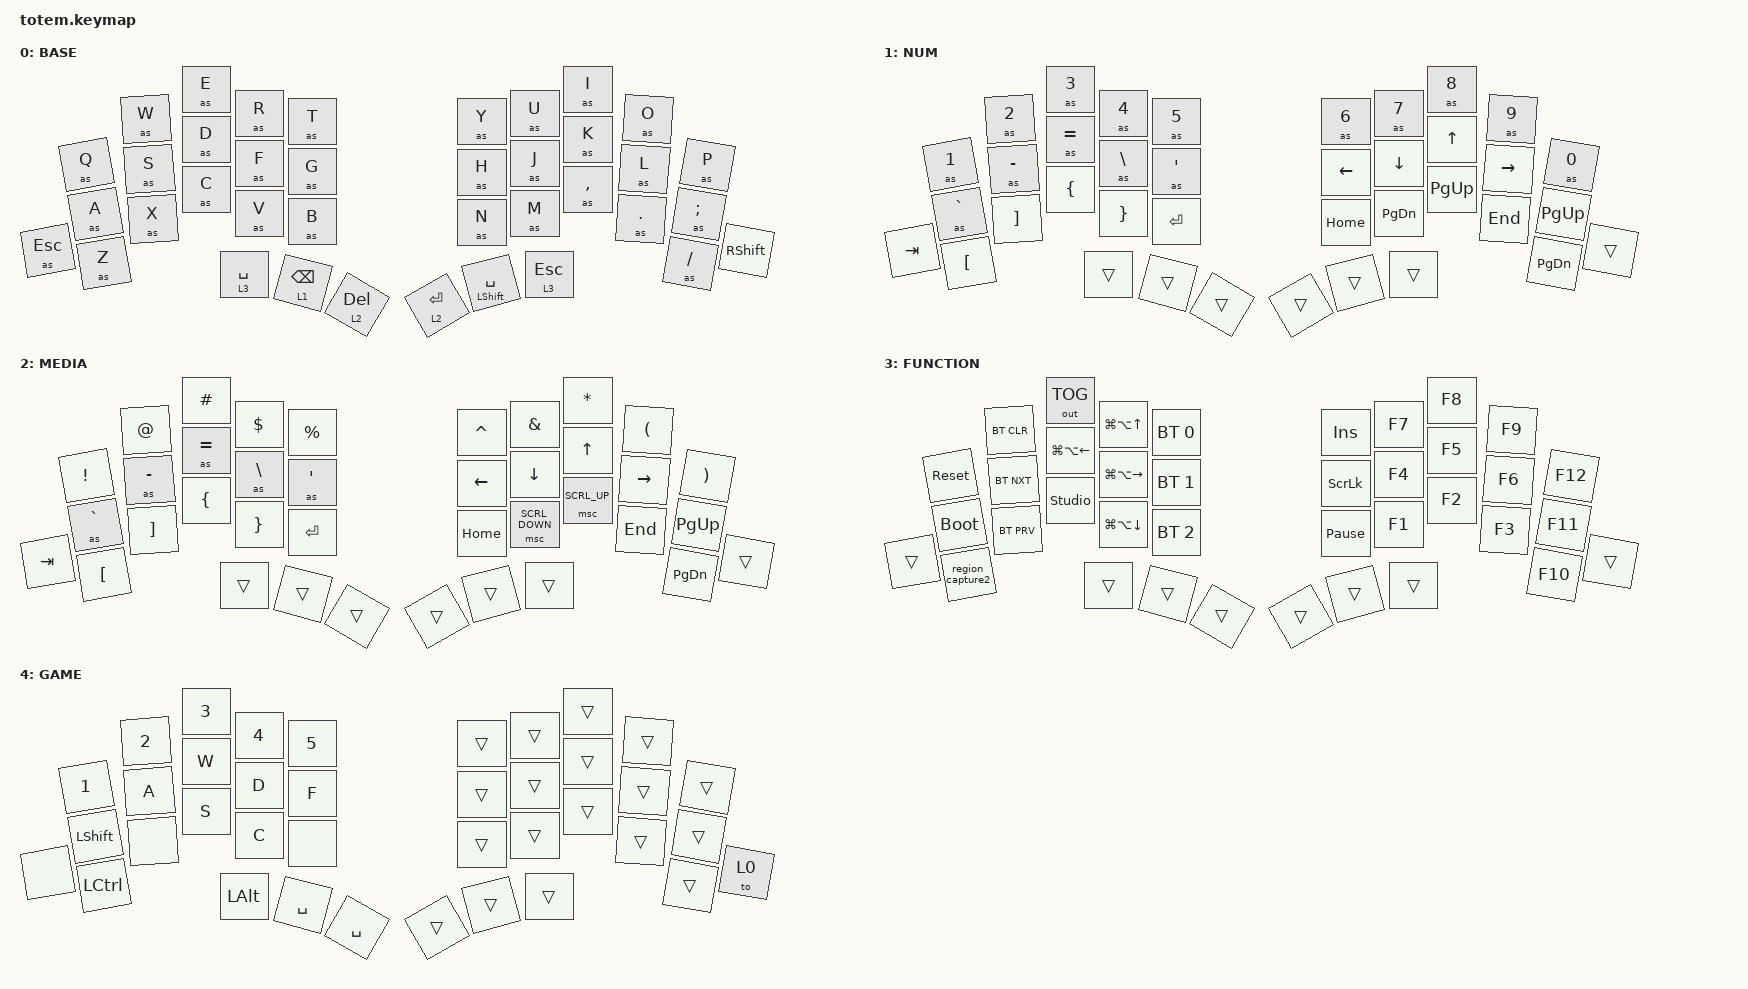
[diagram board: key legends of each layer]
//
//                                                        ▀▀▀▀▀     ▀▀▀▀▀          ▀▀█▀▀
//                                                        ▄▀▀▀▄  ▄  ▄▀▀▀▄  ▄  ▄▀▀▀▄  █  ▄▀▀▀▄
//                                                        █   █  █  █   █  █  █   █  █  █   █
//                                                         ▀▀▀   █   ▀▀▀   █   ▀▀▀   ▀   ▀▀▀
//                                                               █      ▄▄▄█▄▄▄    █   █  
//                                                               ▀      █  █  █     █▄█
//                                                             ▀▀▀▀▀    █  █  █      ▀
//                                                                      ▀  ▀  ▀
//
// ▄▄▄▄▄▄▄▄▄▄▄▄▄▄▄▄▄▄▄▄▄▄▄▄▄▄▄▄▄▄▄▄▄▄▄▄▄▄▄▄▄▄▄▄▄▄▄▄▄▄▄▄▄▄▄▄▄▄▄▄▄▄▄▄▄▄▄▄▄▄▄▄▄▄▄▄▄▄▄▄▄▄▄▄▄▄▄▄▄▄▄▄▄▄▄▄▄▄▄▄▄▄▄▄▄▄▄▄▄▄▄▄▄▄▄▄▄▄▄▄▄▄▄▄▄▄▄▄▄▄▄▄▄▄▄▄▄▄▄▄▄▄▄▄▄▄▄▄▄

#include <behaviors.dtsi>
#include <dt-bindings/zmk/keys.h>
#include <dt-bindings/zmk/bt.h>
#include <dt-bindings/zmk/outputs.h>
#include <dt-bindings/zmk/ext_power.h>

#define ZMK_POINTING_DEFAULT_MOVE_VAL 1500  // default: 600
#define ZMK_POINTING_DEFAULT_SCRL_VAL 20    // default: 10

#include <dt-bindings/zmk/pointing.h>

#define BASE      0
#define NUM       1
#define MEDIA     2
#define FUNCTION  3
#define GAME      4

&mt {
    quick-tap-ms = <100>;
    global-quick-tap;
    flavor = "tap-preferred";
    tapping-term-ms = <170>;
};

/ {
    behaviors {
        
        
        hm: homerow_mods {
            compatible = "zmk,behavior-hold-tap";
            label = "HOMEROW_MODS";
            #binding-cells = <2>;
            tapping-term-ms = <200>;			// <---[[produces tap if held longer than tapping-term-ms]]
            quick_tap_ms = <0>;
            flavor = "tap-preferred";
            bindings = <&kp>, <&kp>;
        };

        lc: layer_change {
            compatible = "zmk,behavior-hold-tap";
            #binding-cells = <2>;
            flavor = "hold-preferred";
            tapping-term-ms = <200>;
            quick-tap-ms = <200>;
            require-prior-idle-ms = <125>;
            bindings = <&to>, <&kp>;
        };

        sc: sticky_layer_change {
            compatible = "zmk,behavior-hold-tap";
            #binding-cells = <2>;
            flavor = "hold-preferred";
            tapping-term-ms = <200>;
            quick-tap-ms = <200>;
            require-prior-idle-ms = <125>;
            bindings = <&sl>, <&kp>;
        };

        dl: dualayer_change {
            compatible = "zmk,behavior-hold-tap";
            #binding-cells = <2>;
            flavor = "hold-preferred";
            tapping-term-ms = <200>;
            quick-tap-ms = <200>;
            require-prior-idle-ms = <125>;
            bindings = <&to>, <&sl>;
        };

        ts: temp_sticky {
            compatible = "zmk,behavior-hold-tap";
            #binding-cells = <2>;
            flavor = "hold-preferred";
            tapping-term-ms = <200>;
            quick-tap-ms = <200>;
            require-prior-idle-ms = <125>;
            bindings = <&mo>, <&to>;
        };
    };

    combos {
        compatible = "zmk,combos";

        combo_esc {
            timeout-ms = <50>;
            key-positions = <0 1>;
            layers = <0 1 2 3>;
            bindings = <&kp ESC>;
        };

        combo_tab {
            timeout-ms = <50>;
            key-positions = <0 1 33 36>;
            layers = <0 1 2 3>;
            bindings = <&kp TAB>;
        };
        combo_lock {
            timeout-ms = <50>;
            key-positions = <20 31>;
            layers = <0 1 2 3>;
            bindings = <&kp CAPSLOCK>;
        };
        combo_caps_word {
            timeout-ms = <50>;
            key-positions = <26 27>;
            layers = <0 1 2 3>;
            bindings = <&caps_word>;
        };
        combo_undo {
            timeout-ms = <50>;
            key-positions = <34 35>;
            layers = <0 1 2 3>;
            bindings = <&kp LC(Z)>;
        };

        /*combo_shift1 {
            timeout-ms = <50>;
            key-positions = <12 13>;
            layers = <0>;
            bindings = <&kp LSHFT>;
        };

        combo_shift2 {
            timeout-ms = <50>;
            key-positions = <16 17>;
            layers = <0>;
            bindings = <&kp RSHFT>;
        };*/

        combo_ctrl1 {
            timeout-ms = <50>;
            key-positions = <11 12>;
            layers = <0>;
            bindings = <&kp LCTRL>;
        };

        combo_ctrl2 {
            timeout-ms = <50>;
            key-positions = <18 17>;
            layers = <0>;
            bindings = <&kp RCTRL>;
        };

        combo_alt1 {
            timeout-ms = <50>;
            key-positions = <11 10>;
            layers = <0>;
            bindings = <&kp LALT>;
        };

        combo_alt2 {
            timeout-ms = <50>;
            key-positions = <18 19>;
            layers = <0>;
            bindings = <&kp RALT>;
        };

        combo_super1 {
            timeout-ms = <50>;
            key-positions = <13 12>;
            layers = <0 2 3 1>;
            bindings = <&kp LGUI>;
        };
        combo_super2 {
            timeout-ms = <50>;
            key-positions = <16 17>;
            layers = <0 2 3 1>;
            bindings = <&kp LGUI>;
        };
        /*combo_backspace1 {
            key-positions = <5 6>;
            timeout-ms = <50>;
            layers = <0 1 2 3>;
            bindings = <&kp BACKSPACE>;
        };*/

        to_game_layer {
            bindings = <&to 4>;
            key-positions = <4 5>;
            layers = <0 1 2 3>;
            timeout-ms = <50>;
        };

        region_screen {
            bindings = <&capture_region>;
            key-positions = <5 6>;
            layers = <0 1 2 3>;
            timeout-ms = <50>;
        };

        combo_backspace2 {
            bindings = <&kp BACKSPACE>;
            key-positions = <3 4>;
            timeout-ms = <50>;
            layers = <0 1 2 3>;
        };

        combo_del1 {
            bindings = <&kp DEL>;
            key-positions = <24 25>;
            timeout-ms = <50>;
            layers = <0 1 2 3>;
        };

        combo_del2 {
            bindings = <&kp DEL>;
            key-positions = <26 27>;
            timeout-ms = <50>;
            layers = <0 1 2 3>;
        };

        combo_copy {
                timeout-ms = <50>;
                key-positions = <22 23>;
                bindings = <&kp LG(C)>;
            };
		combo_cut {
                timeout-ms = <50>;
                key-positions = <21 22>;
                bindings = <&kp LG(X)>;
            };
        combo_paste {
                timeout-ms = <50>;
                key-positions = <23 24>;
                bindings = <&kp LG(V)>;
            }; 
    };

    macros {
		  shifted: macro_shifted_kp {
		    #binding-cells = <1>;
		    label = "MACRO_SHIFTED_KP";
		    compatible = "zmk,behavior-macro-one-param";
		    bindings =
		      <&macro_press &kp LSHFT>,
		      <&macro_param_1to1 &macro_tap &kp MACRO_PLACEHOLDER>,
		      <&macro_release &kp LSHFT>;
		  };
  		
		as_ht: autoshift_hold_tap {
		    compatible = "zmk,behavior-hold-tap";
		    label = "AUTOSHIFT_HOLD_TAP";
		    #binding-cells = <2>;
		    tapping-term-ms = <175>;
		    flavor = "tap-preferred";
		    bindings = <&shifted>, <&kp>;
  		};
        as: autoshift {
            compatible = "zmk,behavior-macro-one-param";
            #binding-cells = <1>;
            label = "AUTOSHIFT_KP";
            bindings =
                <&macro_press>,
                <&macro_param_1to1>,
                <&macro_param_1to2>,
                <&as_ht MACRO_PLACEHOLDER MACRO_PLACEHOLDER>,
                <&macro_pause_for_release>,
                <&macro_release>,
                <&macro_param_1to1>,
                <&macro_param_1to2>,
                <&as_ht MACRO_PLACEHOLDER MACRO_PLACEHOLDER>;
        };
        capture_region: capture_region {
            compatible = "zmk,behavior-macro";
            #binding-cells = <0>;
            bindings = <
                &macro_press   &kp LGUI &kp LSHFT  // Press and hold Command (LGUI) and Shift (LSHFT)
                &macro_tap     &kp N5              // Tap the '5' key
                &macro_release &kp LGUI &kp LSHFT  // Release Command and Shift
            >;
            wait-ms = <10>;
            tap-ms = <10>;
//Windows
/*                <&macro_press>,
                <&kp LCTRL>,
                <&macro_tap>,
                <&kp PRINTSCREEN>,
                <&macro_release>,
                <&kp LCTRL>;*/

            label = "CAPTURE_REGION";
        };

        region_capture2: region_capture2 {
            compatible = "zmk,behavior-macro";
            #binding-cells = <0>;
            bindings =
                <&macro_press>,
                <&kp RCTRL>,
                <&macro_tap>,
                <&kp K_APP>,
                <&macro_release>,
                <&kp RCTRL>;

            label = "REGION_CAPTURE2";
        };
    };

    keymap {
        compatible = "zmk,keymap";

        // ▄▄▄▄▄▄▄▄▄▄▄▄▄▄▄▄▄▄▄▄▄▄▄▄▄▄▄▄▄▄▄▄▄▄▄▄▄▄▄▄▄▄▄▄▄▄▄▄▄▄▄▄▄▄▄▄▄▄▄▄▄▄▄▄▄▄▄▄▄▄▄▄▄▄▄▄▄▄▄▄▄▄▄▄▄▄▄▄▄▄▄▄▄▄▄▄▄▄▄▄▄▄▄▄▄▄▄▄▄▄▄▄▄▄▄▄▄▄▄▄▄▄▄▄▄▄▄▄▄▄▄▄▄▄▄▄▄▄▄▄▄▄▄▄▄▄▄▄▄

        base_layer {
            // ┏━━━━━━━━━━━━━━━━━━━━━━━━━━━━━━━━━━━━━━━┓

            label = "BASE";

            // ┗━━━━━━━━━━━━━━━━━━━━━━━━━━━━━━━━━━━━━━━┛

            //             ┌─────────┬─────────┬─────────┬─────────┬─────────┐                     ┌─────────┬─────────┬─────────┬─────────┬─────────┐
            //             │    0    │    1    │    2    │    3    │    4    │                     │    5    │    6    │    7    │    8    │    9    │   
            //             ├─────────┼─────────┼─────────┼─────────┼─────────┤                     ├─────────┼─────────┼─────────┼─────────┼─────────┤
            //             │   10    │   11    │   12    │   13    │   14    │                     │   15    │   16    │   17    │   18    │   19    │
            //   ┌─────────┼─────────┼─────────┼─────────┼─────────┼─────────┤                     ├─────────┼─────────┼─────────┼─────────┼─────────┼─────────┐
            //   │    20   │   21    │   22    │   23    │   24    │   25    │                     │   26    │   27    │   28    │   29    │   30    │   31    │
            //   └─────────┴─────────┴─────────┴─────────┼─────────┼─────────┼──────────┬┬─────────┼─────────┼─────────┼─────────┴─────────┴─────────┴─────────┘
            //                                           │   32    │  33     │  34      ││  35     │  36     │  DITTO  │  
            //                                           └─────────┴─────────┴──────────┘└─────────┴─────────┴─────────┘


            //             ┌─────────┬─────────┬─────────┬─────────┬─────────┐                     ┌─────────┬─────────┬─────────┬─────────┬─────────┐
            //             │    Q    │    W    │    E    │    R    │    T    │                     │    Y    │    U    │    I    │    O    │    P    │   
            //             ├─────────┼─────────┼─────────┼─────────┼─────────┤                     ├─────────┼─────────┼─────────┼─────────┼─────────┤
            //             │    A    │    S    │    D    │    F    │    G    │                     │    H    │    J    │    K    │    L    │    ;    │
            //   ┌─────────┼─────────┼─────────┼─────────┼─────────┼─────────┤                     ├─────────┼─────────┼─────────┼─────────┼─────────┼─────────┐
            //   │ ESC/LT 3│    Z    │    X    │    C    │    V    │    B    │                     │    N    │    M    │    ,    │    .    │    /    │  SHIFT  │
            //   └─────────┴─────────┴─────────┴─────────┼─────────┼─────────┼──────────┬┬─────────┼─────────┼─────────┼─────────┴─────────┴─────────┴─────────┘
            //                                           │SPC/LT 1 │BSPC/LT 1│ DEL/LT 2 ││  RT/LT 2│SPC/SHFT │ESC/LT 3 │  
            //                                           └─────────┴─────────┴──────────┘└─────────┴─────────┴─────────┘

/*            bindings = <
           &kp Q  &kp W  &kp F      &kp P        &kp B          &kp J      &kp L      &kp U          &kp Y    &kp SEMI
           &kp A  &kp R  &kp S      &kp T        &kp G          &kp M      &kp N      &kp E          &kp I    &kp O
&lt 3 TAB  &kp Z  &kp X  &kp C      &kp D        &kp V          &kp K      &kp H      &kp COMMA      &kp DOT  &kp FSLH  &lc 2 SQT
                         &kp LC(C)  &lt 2 LC(V)  &lt 1 SPACE    &lt 1 RET  &lt 2 BSPC &kp LC(GRAVE)
            >;*/
			bindings = <
              	&as Q   &as W   &as E	&as R 	&as T                &as Y  	&as U	&as I        &as O 	&as P
              	&as A 	&as S 	&as D  	&as F	&as G                &as H      &as J  	&as K 	     &as L  	&as SEMICOLON
&as ESC	&as Z   &as X	&as C   &as V   &as B                &as N      &as M   &as COMMA    &as DOT    &as SLASH     &kp RSHFT
                        &lt 3 SPACE &lt 1 BSPC 	&lt 2 DEL            &lt 2 RET  &mt LSHFT SPACE     &lt 3 ESC
            >; 
        };

        // ▄▄▄▄▄▄▄▄▄▄▄▄▄▄▄▄▄▄▄▄▄▄▄▄▄▄▄▄▄▄▄▄▄▄▄▄▄▄▄▄▄▄▄▄▄▄▄▄▄▄▄▄▄▄▄▄▄▄▄▄▄▄▄▄▄▄▄▄▄▄▄▄▄▄▄▄▄▄▄▄▄▄▄▄▄▄▄▄▄▄▄▄▄▄▄▄▄▄▄▄▄▄▄▄▄▄▄▄▄▄▄▄▄▄▄▄▄▄▄▄▄▄▄▄▄▄▄▄▄▄▄▄▄▄▄▄▄▄▄▄▄▄▄▄▄▄▄▄▄

        num_layer {
            // ┏━━━━━━━━━━━━━━━━━━━━━━━━━━━━━━━━━━━━━━━┓

            label = "NUM";

            // ┗━━━━━━━━━━━━━━━━━━━━━━━━━━━━━━━━━━━━━━━┛
            //             ┌─────────┬─────────┬─────────┬─────────┬─────────┐                     ┌─────────┬─────────┬─────────┬─────────┬─────────┐
            //             │    1    │    2    │    3    │    4    │    5    │                     │    6    │    7    │    8    │    9    │    0    │
            //             ├─────────┼─────────┼─────────┼─────────┼─────────┤                     ├─────────┼─────────┼─────────┼─────────┼─────────┤
            //             │    ~    │    -    │    =    │    \    │    '    │                     │    <-   │    ↓    │    ↑    │    ->   │   PG_UP │
            //   ┌─────────┼─────────┼─────────┼─────────┼─────────┼─────────┤                     ├─────────┼─────────┼─────────┼─────────┼─────────┼─────────┐
            //   │    TAB  │    [    │    ]    │    {    │    }    │ ------- │                     │ HOME    │  PG_DN  │  PG_UP  │  END    │   PG_DN │   SHIFT │
            //   └─────────┴─────────┴─────────┴─────────┼─────────┼─────────┼──────────┬┬─────────┼─────────┼─────────┼─────────┴─────────┴─────────┴─────────┘
            //                                           │    0    │  ENTER  │  SPACE   ││  SPACE  │  ENTER  │    0    │ 
            //                                           └─────────┴─────────┴──────────┘└─────────┴─────────┴─────────┘

            bindings = <
            &as N1    &as N2     &as N3     &as N4      &as N5                  &as N6      &as N7      &as N8      &as N9      &as N0
            &as GRAVE &as MINUS  &as EQUAL  &as BSLH    &as SQT                 &kp LEFT    &kp DOWN    &kp UP      &kp RIGHT   &kp PG_UP  
&kp TAB     &kp LBKT  &kp RBKT   &kp LBRC   &kp RBRC    &kp RET                 &kp HOME    &kp PG_DN   &kp PG_UP   &kp END     &kp PG_DN    &trans
                                    &trans  &trans      &trans                  &trans      &trans      &trans
            >;
        };

        // ▄▄▄▄▄▄▄▄▄▄▄▄▄▄▄▄▄▄▄▄▄▄▄▄▄▄▄▄▄▄▄▄▄▄▄▄▄▄▄▄▄▄▄▄▄▄▄▄▄▄▄▄▄▄▄▄▄▄▄▄▄▄▄▄▄▄▄▄▄▄▄▄▄▄▄▄▄▄▄▄▄▄▄▄▄▄▄▄▄▄▄▄▄▄▄▄▄▄▄▄▄▄▄▄▄▄▄▄▄▄▄▄▄▄▄▄▄▄▄▄▄▄▄▄▄▄▄▄▄▄▄▄▄▄▄▄▄▄▄▄▄▄▄▄▄▄▄▄▄

        media_layer {
            // ┏━━━━━━━━━━━━━━━━━━━━━━━━━━━━━━━━━━━━━━━┓

            label = "MEDIA";

            // ┗━━━━━━━━━━━━━━━━━━━━━━━━━━━━━━━━━━━━━━━┛
            //             ┌─────────┬─────────┬─────────┬─────────┬─────────┐                    ┌─────────┬─────────┬─────────┬─────────┬─────────┐
            //             │    !    │    @    │    #    │    $    │    %    │                    │    ^    │    &    │    *    │    -    │    +    │   
            //             ├─────────┼─────────┼─────────┼─────────┼─────────┤                    ├─────────┼─────────┼─────────┼─────────┼─────────┤
            //             │    ~    │    -    │    =    │    \    │    '    │                    │    <-   │    ↓    │    ↑    │    ->   │   PG_UP │
            //   ┌─────────┼─────────┼─────────┼─────────┼─────────┼─────────┤                    ├─────────┼─────────┼─────────┼─────────┼─────────┼─────────┐
            //   │    TAB  │    [    │    ]    │    {    │    }    │ ------- │                    │ HOME    │  PG_DN  │  PG_UP  │  END    │   PG_DN │   SHIFT │
            //   └─────────┴─────────┴─────────┴─────────┼─────────┼─────────┼─────────┬┬─────────┼─────────┼─────────┼─────────┴─────────┴─────────┴─────────┘
            //                                           │   ALT   │  CTRL   │  SHIFT  ││         │         │         │  
            //                                           └─────────┴─────────┴─────────┘└─────────┴─────────┴─────────┘

            bindings = <
            &kp EXCL    &kp AT     &kp HASH  &kp DLLR   &kp PRCNT           &kp CARET   &kp AMPS    &kp ASTRK   &kp LPAR   &kp RPAR
            &as GRAVE   &as MINUS  &as EQUAL &as BSLH   &as SQT             &kp LEFT    &kp DOWN    &kp UP      &kp RIGHT   &kp PG_UP   
&kp TAB     &kp LBKT    &kp RBKT   &kp LBRC  &kp RBRC   &kp RET             &kp HOME    &msc SCRL_DOWN   &msc SCRL_UP   &kp END     &kp PG_DN   &trans
//&kp PRINTSCREEN  &kp LBKT  &kp GRAVE  &kp DOWN  &kp UNDER  &kp RBKT             &kp HOME    &kp PG_DN  &kp PG_UP  &kp END  &kp PG_DN    &trans
                                    &trans  &trans     &trans                   &trans  &trans     &trans                
//                                      &kp LALT  &kp LCTRL  &kp LSHFT            &trans     &trans        &trans
            >;
        };

        // ▄▄▄▄▄▄▄▄▄▄▄▄▄▄▄▄▄▄▄▄▄▄▄▄▄▄▄▄▄▄▄▄▄▄▄▄▄▄▄▄▄▄▄▄▄▄▄▄▄▄▄▄▄▄▄▄▄▄▄▄▄▄▄▄▄▄▄▄▄▄▄▄▄▄▄▄▄▄▄▄▄▄▄▄▄▄▄▄▄▄▄▄▄▄▄▄▄▄▄▄▄▄▄▄▄▄▄▄▄▄▄▄▄▄▄▄▄▄▄▄▄▄▄▄▄▄▄▄▄▄▄▄▄▄▄▄▄▄▄▄▄▄▄▄▄▄▄▄▄

        function_layer {
            // ┏━━━━━━━━━━━━━━━━━━━━━━━━━━━━━━━━━━━━━━━┓

            label = "FUNCTION";

            // ┗━━━━━━━━━━━━━━━━━━━━━━━━━━━━━━━━━━━━━━━┛
            //             ┌─────────┬─────────┬─────────┬─────────┬─────────┐                     ┌─────────┬─────────┬─────────┬─────────┬─────────┐
            //             │  RESET  │  BT CLR │ OUT TOG │  WIN ^  │ BTSEL 0 │                     │   INS   │    F7   │    F8   │    F9   │   F12   │
            //             ├─────────┼─────────┼─────────┼─────────┼─────────┤                     ├─────────┼─────────┼─────────┼─────────┼─────────┤
            //             │  BOOTLD │ BT NEXT │  WIN <  │  WIN >  │ BTSEL 1 │                     │  SLCK   │    F4   │    F5   │    F6   │   F11   │
            //   ┌─────────┼─────────┼─────────┼─────────┼─────────┼─────────┤                     ├─────────┼─────────┼─────────┼─────────┼─────────┼─────────┐
            //   │         │ CAPTURE │ BT PREV │ STUDIO  │  WIN v  │ BTSEL 2 │                     │  PAUSE  │    F1   │    F2   │    F3   │   F10   │         │
            //   └─────────┴─────────┴─────────┴─────────┼─────────┼─────────┼──────────┬┬─────────┼─────────┼─────────┼─────────┴─────────┴─────────┴─────────┘
            //                                           │         │         │  SPACE   ││         │         │         │ 
            //                                           └─────────┴─────────┴──────────┘└─────────┴─────────┴─────────┘

            bindings = <
        &sys_reset        &bt BT_CLR  &out OUT_TOG            &kp LG(LA(UP_ARROW))     &bt BT_SEL 0         &kp INSERT       &kp F7  &kp F8  &kp F9  &kp F12
        &bootloader       &bt BT_NXT  &kp LG(LA(LEFT_ARROW))  &kp LG(LA(RIGHT_ARROW))  &bt BT_SEL 1         &kp SLCK         &kp F4  &kp F5  &kp F6  &kp F11
&trans  &region_capture2  &bt BT_PRV  &studio_unlock          &kp LG(LA(DOWN_ARROW))   &bt BT_SEL 2         &kp PAUSE_BREAK  &kp F1  &kp F2  &kp F3  &kp F10  &trans
                                      &trans                  &trans                   &trans               &trans           &trans  &trans
            >;
        };

        // ▄▄▄▄▄▄▄▄▄▄▄▄▄▄▄▄▄▄▄▄▄▄▄▄▄▄▄▄▄▄▄▄▄▄▄▄▄▄▄▄▄▄▄▄▄▄▄▄▄▄▄▄▄▄▄▄▄▄▄▄▄▄▄▄▄▄▄▄▄▄▄▄▄▄▄▄▄▄▄▄▄▄▄▄▄▄▄▄▄▄▄▄▄▄▄▄▄▄▄▄▄▄▄▄▄▄▄▄▄▄▄▄▄▄▄▄▄▄▄▄▄▄▄▄▄▄▄▄▄▄▄▄▄▄▄▄▄▄▄▄▄▄▄▄▄▄▄▄▄		

        game_layer {
            // ┏━━━━━━━━━━━━━━━━━━━━━━━━━━━━━━━━━━━━━━━┓

            label = "GAME";

            // ┗━━━━━━━━━━━━━━━━━━━━━━━━━━━━━━━━━━━━━━━┛
            //             ┌─────────┬─────────┬─────────┬─────────┬─────────┐                    ┌─────────┬─────────┬─────────┬─────────┬─────────┐
            //             │    1    │    2    │    3    │    4    │    5    │                    │         │         │         │         │         │   
            //             ├─────────┼─────────┼─────────┼─────────┼─────────┤                    ├─────────┼─────────┼─────────┼─────────┼─────────┤
            //             │  SHIFT  │    A    │    W    │    D    │    F    │                    │         │         │         │         │         │
            //   ┌─────────┼─────────┼─────────┼─────────┼─────────┼─────────┤                    ├─────────┼─────────┼─────────┼─────────┼─────────┼─────────┐
            //   │ ------- │  CRTL   │ ------- │    S    │    C    │ ------- │                    │         │         │         │         │         │         │
            //   └─────────┴─────────┴─────────┴─────────┼─────────┼─────────┼─────────┬┬─────────┼─────────┼─────────┼─────────┴─────────┴─────────┴─────────┘
            //                                           │   ALT   │  SPACE  │  SPACE  ││         │         │         │  
            //                                           └─────────┴─────────┴─────────┘└─────────┴─────────┴─────────┘

            bindings = <
       &kp N1     &kp N2  &kp N3    &kp N4     &kp N5       &trans  &trans  &trans  &trans  &trans
       &kp LSHFT  &kp A   &kp W     &kp D      &kp F        &trans  &trans  &trans  &trans  &trans
&none  &kp LCTRL  &none   &kp S     &kp C      &none        &trans  &trans  &trans  &trans  &trans  &to 0
                          &kp LALT  &kp SPACE  &kp SPACE    &trans  &trans  &trans
            >;
        };

        // ▄▄▄▄▄▄▄▄▄▄▄▄▄▄▄▄▄▄▄▄▄▄▄▄▄▄▄▄▄▄▄▄▄▄▄▄▄▄▄▄▄▄▄▄▄▄▄▄▄▄▄▄▄▄▄▄▄▄▄▄▄▄▄▄▄▄▄▄▄▄▄▄▄▄▄▄▄▄▄▄▄▄▄▄▄▄▄▄▄▄▄▄▄▄▄▄▄▄▄▄▄▄▄▄▄▄▄▄▄▄▄▄▄▄▄▄▄▄▄▄▄▄▄▄▄▄▄▄▄▄▄▄▄▄▄▄▄▄▄▄▄▄▄▄▄▄▄▄▄		
    };
};
